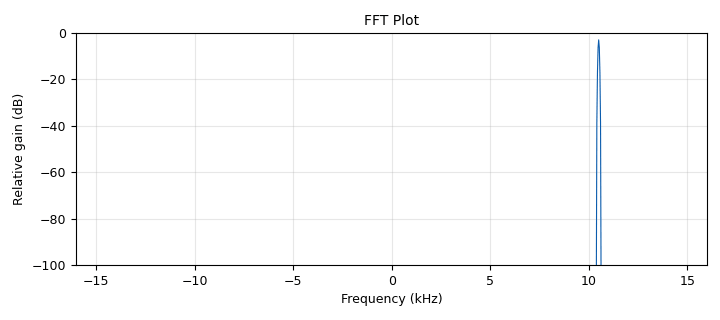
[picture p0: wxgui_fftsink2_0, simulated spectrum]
<?xml version='1.0' encoding='utf-8'?>
<flow_graph>
<block>
<key>options</key>
<param><key>id</key><value>top_block</value></param>
<param><key>generate_options</key><value>wx_gui</value></param>
<param><key>category</key><value>Custom</value></param>
</block>
<block>
<key>variable</key>
<param><key>id</key><value>samp_rate</value></param>
<param><key>value</key><value>32000</value></param>
</block>
<block>
<key>wxgui_fftsink2</key>
<param><key>id</key><value>wxgui_fftsink2_0</value></param>
<param><key>type</key><value>complex</value></param>
<param><key>title</key><value>FFT Plot</value></param>
<param><key>samp_rate</key><value>samp_rate</value></param>
<param><key>baseband_freq</key><value>0</value></param>
<param><key>y_per_div</key><value>10</value></param>
<param><key>y_divs</key><value>10</value></param>
<param><key>ref_level</key><value>0</value></param>
<param><key>ref_scale</key><value>2.0</value></param>
<param><key>fft_size</key><value>1024</value></param>
<param><key>fft_rate</key><value>15</value></param>
<param><key>peak_hold</key><value>False</value></param>
<param><key>average</key><value>False</value></param>
<param><key>avg_alpha</key><value>0</value></param>
<param><key>win</key><value>None</value></param>
<param><key>notebook</key><value>n,0</value></param>
<param><key>freqvar</key><value>None</value></param>
</block>
<block>
<key>notebook</key>
<param><key>id</key><value>n</value></param>
<param><key>style</key><value>wx.NB_TOP</value></param>
<param><key>labels</key><value>['FFT']</value></param>
</block>
<block>
<key>blocks_divide_xx</key>
<param><key>id</key><value>blocks_divide_xx_0</value></param>
<param><key>_enabled</key><value>False</value></param>
<param><key>type</key><value>complex</value></param>
</block>
<block>
<key>blocks_multiply_xx</key>
<param><key>id</key><value>blocks_multiply_xx_0</value></param>
<param><key>_enabled</key><value>False</value></param>
<param><key>type</key><value>complex</value></param>
</block>
<block>
<key>blocks_multiply_xx</key>
<param><key>id</key><value>blocks_multiply_xx_1</value></param>
<param><key>_enabled</key><value>False</value></param>
<param><key>type</key><value>complex</value></param>
</block>
<block>
<key>blocks_divide_xx</key>
<param><key>id</key><value>blocks_divide_xx_1</value></param>
<param><key>_enabled</key><value>False</value></param>
<param><key>type</key><value>complex</value></param>
</block>
<block>
<key>blocks_multiply_xx</key>
<param><key>id</key><value>blocks_multiply_xx_2</value></param>
<param><key>_enabled</key><value>False</value></param>
<param><key>type</key><value>complex</value></param>
</block>
<block>
<key>blocks_divide_xx</key>
<param><key>id</key><value>blocks_divide_xx_2</value></param>
<param><key>_enabled</key><value>False</value></param>
<param><key>type</key><value>complex</value></param>
</block>
<block>
<key>analog_sig_source_x</key>
<param><key>id</key><value>analog_sig_source_x_1</value></param>
<param><key>type</key><value>complex</value></param>
<param><key>samp_rate</key><value>samp_rate</value></param>
<param><key>waveform</key><value>analog.GR_SIN_WAVE</value></param>
<param><key>freq</key><value>500</value></param>
<param><key>amp</key><value>1</value></param>
<param><key>offset</key><value>0</value></param>
</block>
<block>
<key>analog_sig_source_x</key>
<param><key>id</key><value>analog_sig_source_x_0</value></param>
<param><key>type</key><value>complex</value></param>
<param><key>samp_rate</key><value>samp_rate</value></param>
<param><key>waveform</key><value>analog.GR_SIN_WAVE</value></param>
<param><key>freq</key><value>10000</value></param>
<param><key>amp</key><value>1</value></param>
<param><key>offset</key><value>0</value></param>
</block>
<block>
<key>blocks_multiply_xx</key>
<param><key>id</key><value>blocks_multiply_xx_3</value></param>
<param><key>type</key><value>complex</value></param>
</block>
<block>
<key>blocks_throttle</key>
<param><key>id</key><value>blocks_throttle_0</value></param>
<param><key>type</key><value>complex</value></param>
<param><key>samples_per_second</key><value>samp_rate</value></param>
</block>
<connection><source_block_id>analog_sig_source_x_1</source_block_id><sink_block_id>blocks_multiply_xx_0</sink_block_id><source_key>0</source_key><sink_key>0</sink_key></connection>
<connection><source_block_id>blocks_multiply_xx_0</source_block_id><sink_block_id>blocks_throttle_0</sink_block_id><source_key>0</source_key><sink_key>0</sink_key></connection>
<connection><source_block_id>blocks_throttle_0</source_block_id><sink_block_id>wxgui_fftsink2_0</sink_block_id><source_key>0</source_key><sink_key>0</sink_key></connection>
<connection><source_block_id>blocks_divide_xx_0</source_block_id><sink_block_id>blocks_throttle_0</sink_block_id><source_key>0</source_key><sink_key>0</sink_key></connection>
<connection><source_block_id>analog_sig_source_x_1</source_block_id><sink_block_id>blocks_divide_xx_0</sink_block_id><source_key>0</source_key><sink_key>1</sink_key></connection>
<connection><source_block_id>analog_sig_source_x_0</source_block_id><sink_block_id>blocks_divide_xx_0</sink_block_id><source_key>0</source_key><sink_key>0</sink_key></connection>
<connection><source_block_id>analog_sig_source_x_0</source_block_id><sink_block_id>blocks_multiply_xx_0</sink_block_id><source_key>0</source_key><sink_key>1</sink_key></connection>
<connection><source_block_id>analog_sig_source_x_0</source_block_id><sink_block_id>blocks_divide_xx_1</sink_block_id><source_key>0</source_key><sink_key>0</sink_key></connection>
<connection><source_block_id>analog_sig_source_x_1</source_block_id><sink_block_id>blocks_divide_xx_1</sink_block_id><source_key>0</source_key><sink_key>1</sink_key></connection>
<connection><source_block_id>blocks_divide_xx_1</source_block_id><sink_block_id>blocks_throttle_0</sink_block_id><source_key>0</source_key><sink_key>0</sink_key></connection>
<connection><source_block_id>analog_sig_source_x_1</source_block_id><sink_block_id>blocks_multiply_xx_1</sink_block_id><source_key>0</source_key><sink_key>0</sink_key></connection>
<connection><source_block_id>analog_sig_source_x_0</source_block_id><sink_block_id>blocks_multiply_xx_1</sink_block_id><source_key>0</source_key><sink_key>1</sink_key></connection>
<connection><source_block_id>blocks_multiply_xx_1</source_block_id><sink_block_id>blocks_throttle_0</sink_block_id><source_key>0</source_key><sink_key>0</sink_key></connection>
<connection><source_block_id>analog_sig_source_x_1</source_block_id><sink_block_id>blocks_divide_xx_2</sink_block_id><source_key>0</source_key><sink_key>1</sink_key></connection>
<connection><source_block_id>analog_sig_source_x_0</source_block_id><sink_block_id>blocks_divide_xx_2</sink_block_id><source_key>0</source_key><sink_key>0</sink_key></connection>
<connection><source_block_id>blocks_divide_xx_2</source_block_id><sink_block_id>blocks_throttle_0</sink_block_id><source_key>0</source_key><sink_key>0</sink_key></connection>
<connection><source_block_id>analog_sig_source_x_1</source_block_id><sink_block_id>blocks_multiply_xx_3</sink_block_id><source_key>0</source_key><sink_key>0</sink_key></connection>
<connection><source_block_id>analog_sig_source_x_0</source_block_id><sink_block_id>blocks_multiply_xx_3</sink_block_id><source_key>0</source_key><sink_key>1</sink_key></connection>
<connection><source_block_id>blocks_multiply_xx_3</source_block_id><sink_block_id>blocks_throttle_0</sink_block_id><source_key>0</source_key><sink_key>0</sink_key></connection>
</flow_graph>
